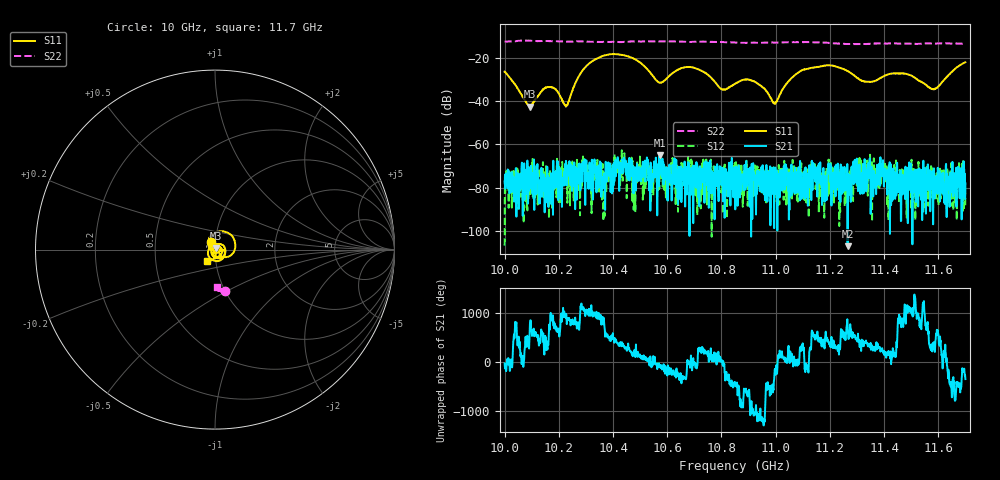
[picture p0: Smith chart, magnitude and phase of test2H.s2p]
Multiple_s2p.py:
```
import skrf as rf
import matplotlib.pyplot as plt

# List of S2P file paths
s2p_files = [
    r'C:\Users\vaish\OneDrive\Documents\projects\Test_Python\11W_POLE_TEST_EVM\test2H.s2p',
    r'C:\Users\vaish\OneDrive\Documents\projects\Test_Python\11W_POLE_TEST_EVM\testH1.s2p',
    r'C:\Users\vaish\OneDrive\Documents\projects\Test_Python\11W_POLE_TEST_EVM\test2V.s2p',
    r'C:\Users\vaish\OneDrive\Documents\projects\Test_Python\11W_POLE_TEST_EVM\testV1.s2p',
    # Add more file paths as needed
]

# Plot S-parameters
fig, ax = plt.subplots(2, 2, figsize=(12, 8))

# Define titles for subplots
titles = ['S11 (dB)', 'S21 (dB)', 'S12 (dB)', 'S22 (dB)']

# Loop through each file
for file in s2p_files:
    network = rf.Network(file)  # Load the S2P file

    # Plot each S-parameter
    network.plot_s_db(m=0, n=0, ax=ax[0, 0], label=file)
    network.plot_s_db(m=1, n=0, ax=ax[0, 1], label=file)
    network.plot_s_db(m=0, n=1, ax=ax[1, 0], label=file)
    network.plot_s_db(m=1, n=1, ax=ax[1, 1], label=file)

# Set titles for subplots
for i, axis in enumerate(ax.flat):
    axis.set_title(titles[i])
    axis.legend()

# Adjust layout
#plt.tight_layout()
plt.show()
```
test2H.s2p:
!Keysight Technologies,P9377B,MY61100142,A.16.70.00
!Date: Tuesday, September 12, 2023 10:54:28
!Correction: S11(C  2-Port  )
!S21(C  2-Port  )
!S12(C  2-Port  )
!S22(C  2-Port  )
!S2P File: Measurements: S11, S21, S12, S22:
# Hz S  dB  R 50
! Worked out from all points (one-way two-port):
!   1601 points, 10 GHz to 11.7 GHz, reference 50 ohm
!   highest |S21| = -65.10 dB at 10.57 GHz (marker M1); lowest = -107.1 dB at 11.27 GHz (marker M2)
!   lowest |S11| = -42.7 dB at 10.09 GHz (marker M3), VSWR 1.01, Z = 50.3 + j0.681 ohm
!   |S11| at or under -10 dB: start of sweep to end of sweep
!   |S22| runs from -13.7 to -12.0 dB; largest |S21 - S12| = 0.00063
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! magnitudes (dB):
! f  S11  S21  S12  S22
! 10 GHz  -26.4  -77.2  -106.8  -12.5
! 10.09 GHz  -42.7  -75.8  -70.7  -12.1
! 10.23 GHz  -42.0  -71.7  -72.1  -12.6
! 10.38 GHz  -18.5  -68.3  -72.3  -12.7
! 10.57 GHz  -31.5  -65.1  -71.6  -12.4
! 10.85 GHz  -32.0  -74.1  -78.8  -12.9
! 11 GHz  -41.0  -83.2  -82.0  -12.9
! 11.1 GHz  -25.8  -76.5  -75.2  -12.8
! 11.27 GHz  -26.1  -107.1  -80.4  -13.6
! 11.58 GHz  -34.5  -80.1  -78.0  -13.4
! 11.7 GHz  -22.1  -78.0  -89.6  -13.6
